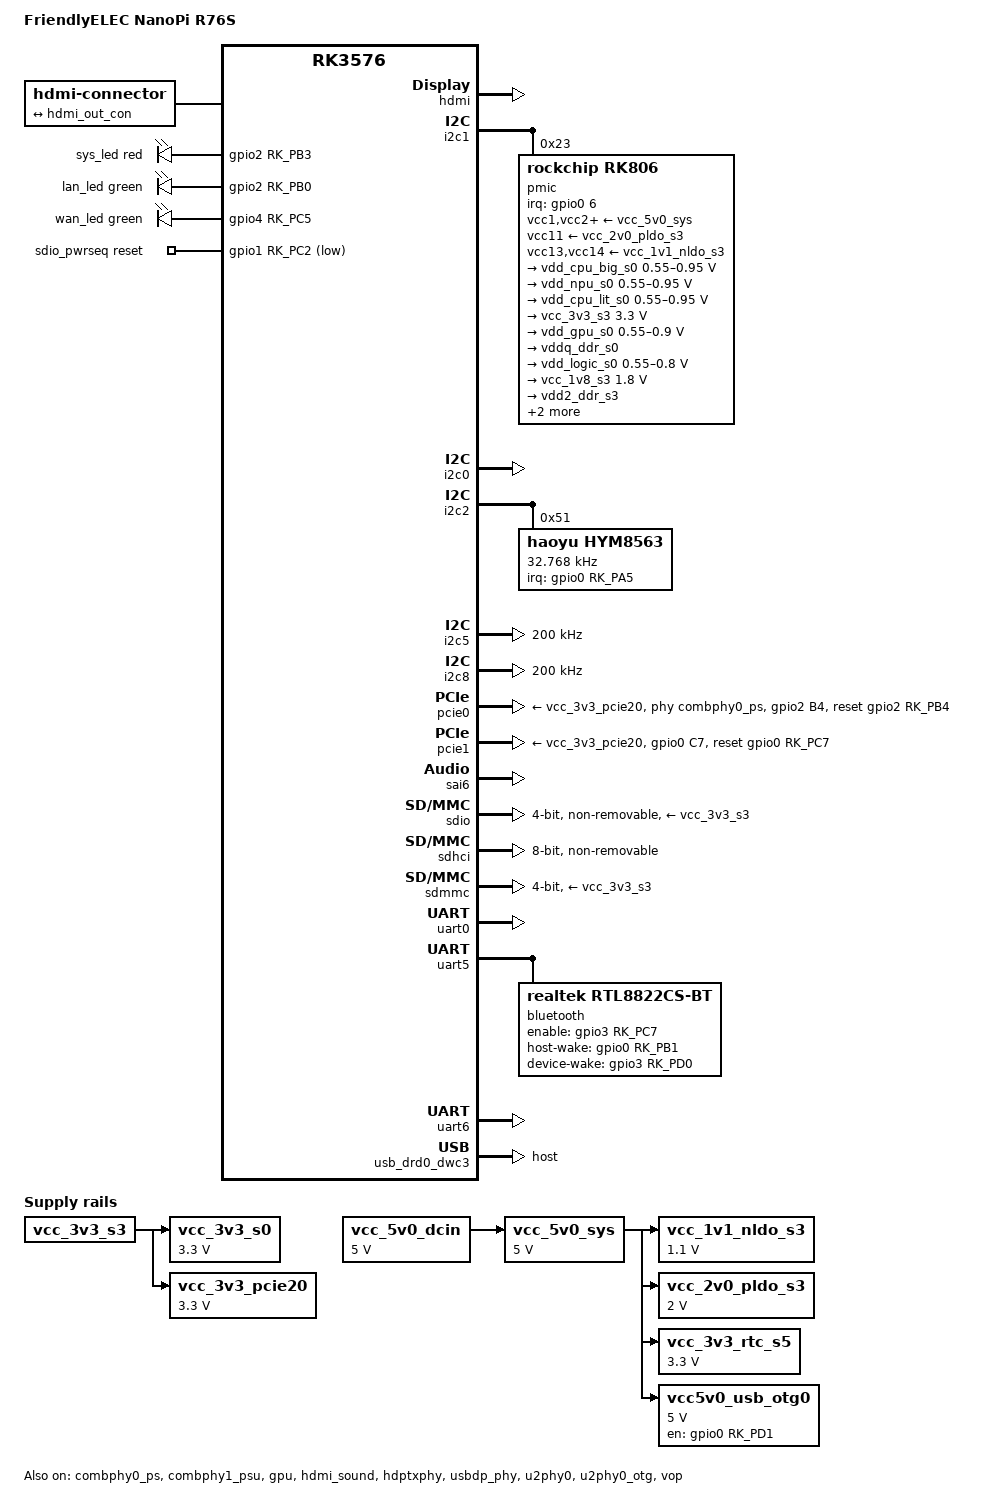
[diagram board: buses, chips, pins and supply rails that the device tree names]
// SPDX-License-Identifier: (GPL-2.0+ OR MIT)
/*
 * Copyright (c) 2024 Rockchip Electronics Co., Ltd.
 *
 */

/dts-v1/;

#include <dt-bindings/gpio/gpio.h>
#include <dt-bindings/leds/common.h>
#include <dt-bindings/pinctrl/rockchip.h>
#include <dt-bindings/pwm/pwm.h>
#include <dt-bindings/soc/rockchip,vop2.h>
#include <dt-bindings/usb/pd.h>
#include "rk3576.dtsi"

/ {
	model = "FriendlyELEC NanoPi R76S";
	compatible = "friendlyelec,nanopi-r76s", "rockchip,rk3576";

	/* Network Aliases */
	aliases {
		ethernet0 = &r8125_b;
		ethernet1 = &r8125_a;
	};

	/* Boot Configuration */
	chosen {
		stdout-path = "serial0:1500000n8";
	};

	/* HDMI Connector */
	hdmi-con {
		compatible = "hdmi-connector";
		type = "a";

		port {
			hdmi_con_in: endpoint {
				remote-endpoint = <&hdmi_out_con>;
			};
		};
	};

	/* LED Configuration */
	leds: leds {
		compatible = "gpio-leds";

		sys_led: led-0 {
			color = <LED_COLOR_ID_RED>;
			function = LED_FUNCTION_HEARTBEAT;
			gpios = <&gpio2 RK_PB3 GPIO_ACTIVE_HIGH>;
			linux,default-trigger = "heartbeat";
			pinctrl-0 = <&sys_led_pin>;
		};

		lan_led: led-1 {
			color = <LED_COLOR_ID_GREEN>;
			function = LED_FUNCTION_STATUS;
			gpios = <&gpio2 RK_PB0 GPIO_ACTIVE_HIGH>;
			pinctrl-0 = <&lan_led_pin>;
		};

		wan_led: led-2 {
			color = <LED_COLOR_ID_GREEN>;
			function = LED_FUNCTION_STATUS;
			gpios = <&gpio4 RK_PC5 GPIO_ACTIVE_HIGH>;
			pinctrl-0 = <&wan_led_pin>;
		};
	};

	/* SDIO for WIFI CARD */
	sdio_pwrseq: sdio-pwrseq {
		compatible = "mmc-pwrseq-simple";
		pinctrl-names = "default";
		pinctrl-0 = <&wifi_poweren_gpio>;

		post-power-on-delay-ms = <200>;
		reset-gpios = <&gpio1 RK_PC2 GPIO_ACTIVE_LOW>;
	};

	/* Power Input */
	vcc_5v0_dcin: regulator-vcc-5v0-dcin {
		compatible = "regulator-fixed";
		regulator-name = "vcc_5v0_dcin";
		regulator-always-on;
		regulator-boot-on;
		regulator-min-microvolt = <5000000>;
		regulator-max-microvolt = <5000000>;
	};

	/* Main System Power */
	vcc_5v0_sys: regulator-vcc-5v0-sys {
		compatible = "regulator-fixed";
		regulator-name = "vcc_5v0_sys";
		regulator-always-on;
		regulator-boot-on;
		regulator-min-microvolt = <5000000>;
		regulator-max-microvolt = <5000000>;
		vin-supply = <&vcc_5v0_dcin>;
	};

	/* PMIC Input Rails */
	vcc_1v1_nldo_s3: regulator-vcc-1v1-nldo-s3 {
		compatible = "regulator-fixed";
		regulator-name = "vcc_1v1_nldo_s3";
		regulator-always-on;
		regulator-boot-on;
		regulator-min-microvolt = <1100000>;
		regulator-max-microvolt = <1100000>;
		vin-supply = <&vcc_5v0_sys>;
	};

	vcc_2v0_pldo_s3: regulator-vcc-2v0-pldo-s3 {
		compatible = "regulator-fixed";
		regulator-name = "vcc_2v0_pldo_s3";
		regulator-always-on;
		regulator-boot-on;
		regulator-min-microvolt = <2000000>;
		regulator-max-microvolt = <2000000>;
		vin-supply = <&vcc_5v0_sys>;
	};

	/* General Purpose 3.3V Rails */
	vcc_3v3_s0: regulator-vcc-3v3-s0 {
		compatible = "regulator-fixed";
		regulator-name = "vcc_3v3_s0";
		regulator-always-on;
		regulator-boot-on;
		regulator-min-microvolt = <3300000>;
		regulator-max-microvolt = <3300000>;
		vin-supply = <&vcc_3v3_s3>;
	};

	/* RTC Backup Power */
	vcc_3v3_rtc_s5: regulator-vcc-3v3-rtc-s5 {
		compatible = "regulator-fixed";
		regulator-name = "vcc_3v3_rtc_s5";
		regulator-always-on;
		regulator-boot-on;
		regulator-min-microvolt = <3300000>;
		regulator-max-microvolt = <3300000>;
		vin-supply = <&vcc_5v0_sys>;
	};

	/* PCIe Power */
	vcc_3v3_pcie20: regulator-vcc-3v3-pcie20 {
		compatible = "regulator-fixed";
		regulator-name = "vcc_3v3_pcie20";
		regulator-always-on;
		regulator-boot-on;
		regulator-min-microvolt = <3300000>;
		regulator-max-microvolt = <3300000>;
		vin-supply = <&vcc_3v3_s3>;
	};

	/* USB OTG0 Power (USB3.0 Type-A) */
	vcc5v0_usb_otg0: regulator-vcc5v0-usb-otg0 {
		compatible = "regulator-fixed";
		regulator-name = "vcc5v0_usb_otg0";
		regulator-min-microvolt = <5000000>;
		regulator-max-microvolt = <5000000>;
		enable-active-high;
		gpio = <&gpio0 RK_PD1 GPIO_ACTIVE_HIGH>;
		pinctrl-names = "default";
		pinctrl-0 = <&usb_otg0_pwren>;
		vin-supply = <&vcc_5v0_sys>;
	};
};

/* Combo PHY Configuration */
&combphy0_ps {
	status = "okay";
};

&combphy1_psu {
	status = "okay";
};

/* CPU Nodes */
&cpu_b0 {
	cpu-supply = <&vdd_cpu_big_s0>;
};

&cpu_b1 {
	cpu-supply = <&vdd_cpu_big_s0>;
};

&cpu_b2 {
	cpu-supply = <&vdd_cpu_big_s0>;
};

&cpu_b3 {
	cpu-supply = <&vdd_cpu_big_s0>;
};

&cpu_l0 {
	cpu-supply = <&vdd_cpu_lit_s0>;
};

&cpu_l1 {
	cpu-supply = <&vdd_cpu_lit_s0>;
};

&cpu_l2 {
	cpu-supply = <&vdd_cpu_lit_s0>;
};

&cpu_l3 {
	cpu-supply = <&vdd_cpu_lit_s0>;
};

/* GPU Node */
&gpu {
	mali-supply = <&vdd_gpu_s0>;
	status = "okay";
};

/* GPIO Connector */
&gpio4 {
	gpio-line-names =
		/* GPIO4 A0-A7 */
		"", "",
		"", "PIN_03",
		"PIN_04 [UART6_TX_M0]", "PIN_05",
		"PIN_06 [UART6_RX_M0]", "PIN_07",
		/* GPIO4 B0-B7 */
		"", "", "", "",
		"", "", "", "",
		/* GPIO4 C0-C7 */
		"", "", "", "",
		"", "", "", "",
		/* GPIO4 D0-D7 */
		"", "", "", "",
		"", "", "", "";
};

/* HDMI Nodes */
&hdmi {
	status = "okay";
};

&hdmi_in {
	hdmi_in_vp0: endpoint {
		remote-endpoint = <&vp0_out_hdmi>;
	};
};

&hdmi_out {
	hdmi_out_con: endpoint {
		remote-endpoint = <&hdmi_con_in>;
	};
};

&hdmi_sound {
	status = "okay";
};

&hdptxphy {
	status = "okay";
};

/* I2C Nodes */
&i2c1 {
	status = "okay";

	pmic@23 {
		compatible = "rockchip,rk806";
		reg = <0x23>;

		interrupt-parent = <&gpio0>;
		interrupts = <6 IRQ_TYPE_LEVEL_LOW>;

		pinctrl-names = "default";
		pinctrl-0 = <&pmic_pins>, <&rk806_dvs1_null>,
			    <&rk806_dvs2_null>, <&rk806_dvs3_null>;

		system-power-controller;

		vcc1-supply = <&vcc_5v0_sys>;
		vcc2-supply = <&vcc_5v0_sys>;
		vcc3-supply = <&vcc_5v0_sys>;
		vcc4-supply = <&vcc_5v0_sys>;
		vcc5-supply = <&vcc_5v0_sys>;
		vcc6-supply = <&vcc_5v0_sys>;
		vcc7-supply = <&vcc_5v0_sys>;
		vcc8-supply = <&vcc_5v0_sys>;
		vcc9-supply = <&vcc_5v0_sys>;
		vcc10-supply = <&vcc_5v0_sys>;
		vcc11-supply = <&vcc_2v0_pldo_s3>;
		vcc12-supply = <&vcc_5v0_sys>;
		vcc13-supply = <&vcc_1v1_nldo_s3>;
		vcc14-supply = <&vcc_1v1_nldo_s3>;
		vcca-supply = <&vcc_5v0_sys>;

		gpio-controller;
		#gpio-cells = <2>;

		rk806_dvs1_null: dvs1-null-pins {
			pins = "gpio_pwrctrl1";
			function = "pin_fun0";
		};

		rk806_dvs2_null: dvs2-null-pins {
			pins = "gpio_pwrctrl2";
			function = "pin_fun0";
		};

		rk806_dvs3_null: dvs3-null-pins {
			pins = "gpio_pwrctrl3";
			function = "pin_fun0";
		};

		rk806_dvs1_slp: dvs1-slp-pins {
			pins = "gpio_pwrctrl1";
			function = "pin_fun1";
		};

		rk806_dvs1_pwrdn: dvs1-pwrdn-pins {
			pins = "gpio_pwrctrl1";
			function = "pin_fun2";
		};

		rk806_dvs1_rst: dvs1-rst-pins {
			pins = "gpio_pwrctrl1";
			function = "pin_fun3";
		};

		rk806_dvs2_slp: dvs2-slp-pins {
			pins = "gpio_pwrctrl2";
			function = "pin_fun1";
		};

		rk806_dvs2_pwrdn: dvs2-pwrdn-pins {
			pins = "gpio_pwrctrl2";
			function = "pin_fun2";
		};

		rk806_dvs2_rst: dvs2-rst-pins {
			pins = "gpio_pwrctrl2";
			function = "pin_fun3";
		};

		rk806_dvs2_dvs: dvs2-dvs-pins {
			pins = "gpio_pwrctrl2";
			function = "pin_fun4";
		};

		rk806_dvs2_gpio: dvs2-gpio-pins {
			pins = "gpio_pwrctrl2";
			function = "pin_fun5";
		};

		rk806_dvs3_slp: dvs3-slp-pins {
			pins = "gpio_pwrctrl3";
			function = "pin_fun1";
		};

		rk806_dvs3_pwrdn: dvs3-pwrdn-pins {
			pins = "gpio_pwrctrl3";
			function = "pin_fun2";
		};

		rk806_dvs3_rst: dvs3-rst-pins {
			pins = "gpio_pwrctrl3";
			function = "pin_fun3";
		};

		rk806_dvs3_dvs: dvs3-dvs-pins {
			pins = "gpio_pwrctrl3";
			function = "pin_fun4";
		};

		rk806_dvs3_gpio: dvs3-gpio-pins {
			pins = "gpio_pwrctrl3";
			function = "pin_fun5";
		};

		regulators {
			vdd_cpu_big_s0: dcdc-reg1 {
				regulator-always-on;
				regulator-boot-on;
				regulator-min-microvolt = <550000>;
				regulator-max-microvolt = <950000>;
				regulator-ramp-delay = <12500>;
				regulator-name = "vdd_cpu_big_s0";
				regulator-enable-ramp-delay = <400>;
				regulator-state-mem {
					regulator-off-in-suspend;
				};
			};

			vdd_npu_s0: dcdc-reg2 {
				regulator-boot-on;
				regulator-min-microvolt = <550000>;
				regulator-max-microvolt = <950000>;
				regulator-ramp-delay = <12500>;
				regulator-name = "vdd_npu_s0";
				regulator-enable-ramp-delay = <400>;
				regulator-state-mem {
					regulator-off-in-suspend;
				};
			};

			vdd_cpu_lit_s0: dcdc-reg3 {
				regulator-always-on;
				regulator-boot-on;
				regulator-min-microvolt = <550000>;
				regulator-max-microvolt = <950000>;
				regulator-ramp-delay = <12500>;
				regulator-name = "vdd_cpu_lit_s0";
				regulator-state-mem {
					regulator-off-in-suspend;
					regulator-suspend-microvolt = <750000>;
				};
			};

			vcc_3v3_s3: dcdc-reg4 {
				regulator-always-on;
				regulator-boot-on;
				regulator-min-microvolt = <3300000>;
				regulator-max-microvolt = <3300000>;
				regulator-name = "vcc_3v3_s3";
				regulator-state-mem {
					regulator-on-in-suspend;
					regulator-suspend-microvolt = <3300000>;
				};
			};

			vdd_gpu_s0: dcdc-reg5 {
				regulator-boot-on;
				regulator-min-microvolt = <550000>;
				regulator-max-microvolt = <900000>;
				regulator-ramp-delay = <12500>;
				regulator-name = "vdd_gpu_s0";
				regulator-enable-ramp-delay = <400>;
				regulator-state-mem {
					regulator-off-in-suspend;
					regulator-suspend-microvolt = <850000>;
				};
			};

			vddq_ddr_s0: dcdc-reg6 {
				regulator-always-on;
				regulator-boot-on;
				regulator-name = "vddq_ddr_s0";
				regulator-state-mem {
					regulator-off-in-suspend;
				};
			};

			vdd_logic_s0: dcdc-reg7 {
				regulator-always-on;
				regulator-boot-on;
				regulator-min-microvolt = <550000>;
				regulator-max-microvolt = <800000>;
				regulator-name = "vdd_logic_s0";
				regulator-state-mem {
					regulator-off-in-suspend;
				};
			};

			vcc_1v8_s3: dcdc-reg8 {
				regulator-always-on;
				regulator-boot-on;
				regulator-min-microvolt = <1800000>;
				regulator-max-microvolt = <1800000>;
				regulator-name = "vcc_1v8_s3";
				regulator-state-mem {
					regulator-on-in-suspend;
					regulator-suspend-microvolt = <1800000>;
				};
			};

			vdd2_ddr_s3: dcdc-reg9 {
				regulator-always-on;
				regulator-boot-on;
				regulator-name = "vdd2_ddr_s3";
				regulator-state-mem {
					regulator-on-in-suspend;
				};
			};

			vdd_ddr_s0: dcdc-reg10 {
				regulator-always-on;
				regulator-boot-on;
				regulator-min-microvolt = <550000>;
				regulator-max-microvolt = <1200000>;
				regulator-name = "vdd_ddr_s0";
				regulator-state-mem {
					regulator-off-in-suspend;
				};
			};

			vcca_1v8_s0: pldo-reg1 {
				regulator-always-on;
				regulator-boot-on;
				regulator-min-microvolt = <1800000>;
				regulator-max-microvolt = <1800000>;
				regulator-name = "vcca_1v8_s0";
				regulator-state-mem {
					regulator-off-in-suspend;
				};
			};

			vcca1v8_pldo2_s0: pldo-reg2 {
				regulator-always-on;
				regulator-boot-on;
				regulator-min-microvolt = <1800000>;
				regulator-max-microvolt = <1800000>;
				regulator-name = "vcca1v8_pldo2_s0";
				regulator-state-mem {
					regulator-off-in-suspend;
				};
			};

			vdda_1v2_s0: pldo-reg3 {
				regulator-always-on;
				regulator-boot-on;
				regulator-min-microvolt = <1200000>;
				regulator-max-microvolt = <1200000>;
				regulator-name = "vdda_1v2_s0";
				regulator-state-mem {
					regulator-off-in-suspend;
				};
			};

			vcca_3v3_s0: pldo-reg4 {
				regulator-always-on;
				regulator-boot-on;
				regulator-min-microvolt = <3300000>;
				regulator-max-microvolt = <3300000>;
				regulator-name = "vcca_3v3_s0";
				regulator-state-mem {
					regulator-off-in-suspend;
				};
			};

			vccio_sd_s0: pldo-reg5 {
				regulator-always-on;
				regulator-boot-on;
				regulator-min-microvolt = <1800000>;
				regulator-max-microvolt = <3300000>;
				regulator-name = "vccio_sd_s0";
				regulator-state-mem {
					regulator-off-in-suspend;
				};
			};

			vcca1v8_pldo6_s3: pldo-reg6 {
				regulator-always-on;
				regulator-boot-on;
				regulator-min-microvolt = <1800000>;
				regulator-max-microvolt = <1800000>;
				regulator-name = "vcca1v8_pldo6_s3";
				regulator-state-mem {
					regulator-on-in-suspend;
					regulator-suspend-microvolt = <1800000>;
				};
			};

			vdd_0v75_s3: nldo-reg1 {
				regulator-always-on;
				regulator-boot-on;
				regulator-min-microvolt = <750000>;
				regulator-max-microvolt = <750000>;
				regulator-name = "vdd_0v75_s3";
				regulator-state-mem {
					regulator-on-in-suspend;
					regulator-suspend-microvolt = <750000>;
				};
			};

			vdda_ddr_pll_s0: nldo-reg2 {
				regulator-always-on;
				regulator-boot-on;
				regulator-min-microvolt = <850000>;
				regulator-max-microvolt = <850000>;
				regulator-name = "vdda_ddr_pll_s0";
				regulator-state-mem {
					regulator-off-in-suspend;
				};
			};

			vdda0v75_hdmi_s0: nldo-reg3 {
				regulator-always-on;
				regulator-boot-on;
				regulator-min-microvolt = <837500>;
				regulator-max-microvolt = <837500>;
				regulator-name = "vdda0v75_hdmi_s0";
				regulator-state-mem {
					regulator-off-in-suspend;
				};
			};

			vdda_0v85_s0: nldo-reg4 {
				regulator-always-on;
				regulator-boot-on;
				regulator-min-microvolt = <850000>;
				regulator-max-microvolt = <850000>;
				regulator-name = "vdda_0v85_s0";
				regulator-state-mem {
					regulator-off-in-suspend;
				};
			};

			vdda_0v75_s0: nldo-reg5 {
				regulator-always-on;
				regulator-boot-on;
				regulator-min-microvolt = <750000>;
				regulator-max-microvolt = <750000>;
				regulator-name = "vdda_0v75_s0";
				regulator-state-mem {
					regulator-off-in-suspend;
				};
			};
		};
	};
};

&i2c0 {
	pinctrl-0 = <&i2c0m1_xfer>;
	status = "okay";
};

&i2c2 {
	status = "okay";

	hym8563: rtc@51 {
		compatible = "haoyu,hym8563";
		reg = <0x51>;
		#clock-cells = <0>;
		clock-frequency = <32768>;
		clock-output-names = "hym8563";
		pinctrl-names = "default";
		pinctrl-0 = <&hym8563_int>;
		interrupt-parent = <&gpio0>;
		interrupts = <RK_PA5 IRQ_TYPE_LEVEL_LOW>;
		wakeup-source;
	};
};

&i2c5 {
	status = "okay";
	clock-frequency = <200000>;
	pinctrl-0 = <&i2c5m3_xfer>;
};

&i2c8 {
	clock-frequency = <200000>;
	pinctrl-0 = <&i2c8m2_xfer>;
};

/* PCIE Nodes */
&pcie0 {
	status = "okay";
	pinctrl-0 = <&pcie0_reset_gpio>;
	phys = <&combphy0_ps PHY_TYPE_PCIE>;
	reset-gpios = <&gpio2 RK_PB4 GPIO_ACTIVE_HIGH>;
	vpcie3v3-supply = <&vcc_3v3_pcie20>;

	pcie@0,0 {
		reg = <0x00000000 0 0 0 0>;
		#address-cells = <3>;
		#size-cells = <2>;

		r8125_a: pcie@0,0 {
			reg = <0x000000 0 0 0 0>;
			local-mac-address = [ 00 00 00 00 00 00 ];
		};
	};
};

&pcie1 {
	status = "okay";
	pinctrl-0 = <&pcie1_reset_gpio>;
	reset-gpios = <&gpio0 RK_PC7 GPIO_ACTIVE_HIGH>;
	vpcie3v3-supply = <&vcc_3v3_pcie20>;

	pcie@0,0 {
		reg = <0x00200000 0 0 0 0>;
		#address-cells = <3>;
		#size-cells = <2>;

		r8125_b: pcie@20,0 {
			reg = <0x000000 0 0 0 0>;
			local-mac-address = [ 00 00 00 00 00 00 ];
		};
	};
};

/* PINs Configuration */
&pinctrl {

	hym8563 {
		hym8563_int: hym8563-int {
			rockchip,pins = <0 RK_PA5 RK_FUNC_GPIO &pcfg_pull_up>;
		};
	};

	gpio-leds {
		sys_led_pin: sys-led-pin {
			rockchip,pins = <2 RK_PB3 RK_FUNC_GPIO &pcfg_pull_none>;
		};

		lan_led_pin: lan-led-pin {
			rockchip,pins = <2 RK_PB0 RK_FUNC_GPIO &pcfg_pull_none>;
		};

		wan_led_pin: wan-led-pin {
			rockchip,pins = <4 RK_PC5 RK_FUNC_GPIO &pcfg_pull_none>;
		};
	};

	pcie {
		pcie0_reset_gpio: pcie0-reset-gpio {
			rockchip,pins = <2 RK_PB4 RK_FUNC_GPIO &pcfg_pull_none>;
		};

		pcie1_reset_gpio: pcie1-reset-gpio {
			rockchip,pins = <0 RK_PC7 RK_FUNC_GPIO &pcfg_pull_none>;
		};
	};

	usb {
		usb_otg0_pwren: usb-otg0-pwren {
			rockchip,pins = <0 RK_PD1 RK_FUNC_GPIO &pcfg_pull_none>;
		};
	};

	wireless-bluetooth {
		uart5_gpios: uart5-gpios {
			rockchip,pins = <3 RK_PD6 RK_FUNC_GPIO &pcfg_pull_none>;
		};
	};

	wireless-wlan {
		wifi_host_wake_irq: wifi-host-wake-irq {
			rockchip,pins = <0 RK_PB0 RK_FUNC_GPIO &pcfg_pull_down>;
		};

		wifi_poweren_gpio: wifi-poweren-gpio {
			rockchip,pins = <1 RK_PC2 RK_FUNC_GPIO &pcfg_pull_up>;
		};
	};
};

/* Audio Interface Configuration */
&sai6 {
	status = "okay";
};

/* SD/MMC Configuration */
&sdio {
	max-frequency = <200000000>;
	bus-width = <4>;
	cap-sdio-irq;
	disable-wp;
	keep-power-in-suspend;
	mmc-pwrseq = <&sdio_pwrseq>;
	no-sd;
	no-mmc;
	non-removable;
	sd-uhs-sdr50;
	sd-uhs-sdr104;
	vmmc-supply = <&vcc_3v3_s3>;
	vqmmc-supply = <&vcc_1v8_s3>;
	pinctrl-0 = <&sdmmc1m0_bus4 &sdmmc1m0_clk &sdmmc1m0_cmd>;
	wakeup-source;
	status = "okay";
};

&sdhci {
	bus-width = <8>;
	full-pwr-cycle-in-suspend;
	max-frequency = <200000000>;
	mmc-hs400-1_8v;
	mmc-hs400-enhanced-strobe;
	no-sdio;
	no-sd;
	non-removable;
	status = "okay";
};

&sdmmc {
	max-frequency = <200000000>;
	no-sdio;
	no-mmc;
	bus-width = <4>;
	cap-mmc-highspeed;
	cap-sd-highspeed;
	disable-wp;
	sd-uhs-sdr104;
	vmmc-supply = <&vcc_3v3_s3>;
	vqmmc-supply = <&vccio_sd_s0>;
	pinctrl-names = "default";
	status = "okay";
};

/* UART Configuration */
&uart0 {
	status = "okay";
};

&uart5 {
	pinctrl-names = "default";
	pinctrl-0 = <&uart5m0_xfer &uart5m0_ctsn &uart5m0_rtsn>;
	status = "okay";

	bluetooth {
		compatible = "realtek,rtl8822cs-bt";
		enable-gpios = <&gpio3 RK_PC7 GPIO_ACTIVE_HIGH>;
		host-wake-gpios = <&gpio0 RK_PB1 GPIO_ACTIVE_HIGH>;
		device-wake-gpios = <&gpio3 RK_PD0 GPIO_ACTIVE_HIGH>;
	};
};

&uart6 {
	status = "okay";
};

/* USB Configuration - USB3.0 Type-A Host Port (OTG0) */
&usb_drd0_dwc3 {
	dr_mode = "host";
	status = "okay";
};

&usbdp_phy {
	status = "okay";
};

&u2phy0 {
	status = "okay";
};

&u2phy0_otg {
	status = "okay";
	phy-supply = <&vcc5v0_usb_otg0>;
};

/* Video Output Configuration */
&vop {
	status = "okay";
};

&vop_mmu {
	status = "okay";
};

&vp0 {
	vp0_out_hdmi: endpoint@ROCKCHIP_VOP2_EP_HDMI0 {
		reg = <ROCKCHIP_VOP2_EP_HDMI0>;
		remote-endpoint = <&hdmi_in_vp0>;
	};
};
